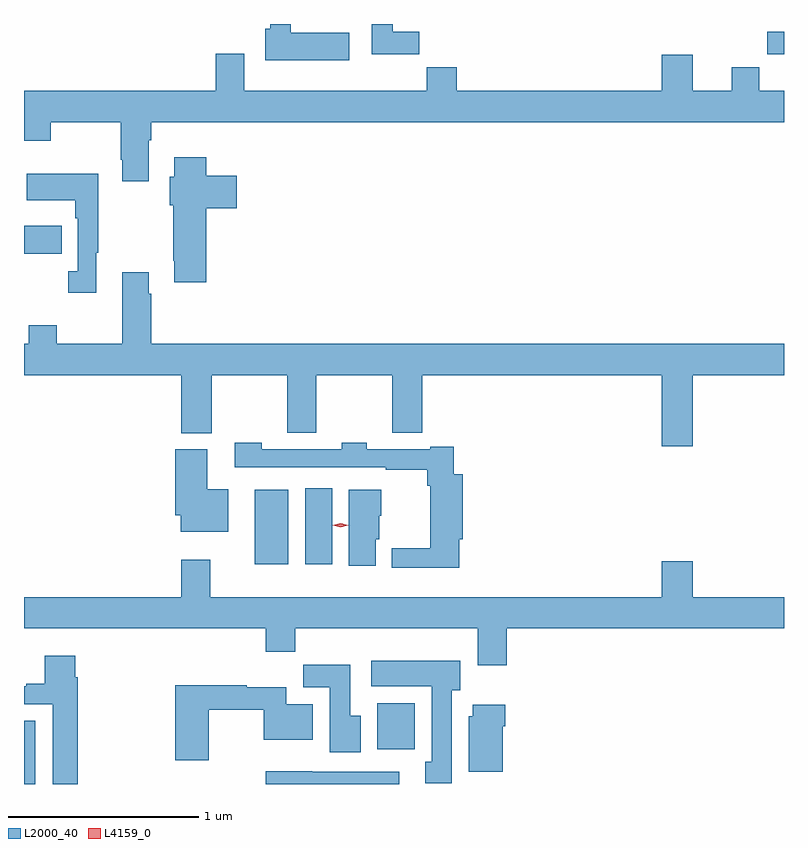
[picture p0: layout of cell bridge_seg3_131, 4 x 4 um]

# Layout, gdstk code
import gdstk
lib = gdstk.Library(unit=1e-6, precision=1e-09)
def R(c, l, rs):  # rectangles x0, y0, x1, y1
    for r in rs: c.add(gdstk.rectangle(r[:2], r[2:], *l))
def P(c, l, *ps):  # polygons
    for p in ps: c.add(gdstk.Polygon(p, *l))
L2000_40 = (2000, 40)
L4159_0 = (4159, 0)

bridge_seg3_131 = lib.new_cell('bridge_seg3_131')
R(bridge_seg3_131, L2000_40, [(269.543,677.452,269.602,677.786), (271.403,677.636,271.6,677.878), (270.758,678.608,270.934,679), (271.022,678.608,271.165,679.009), (269.543,680.242,269.741,680.389), (273.454,681.294,273.543,681.412)])
P(bridge_seg3_131, L2000_40, [(271.622,681.412),(271.483,681.412),(271.483,681.452),(271.373,681.452),(271.373,681.294),(271.622,681.294)],
  [(271.255,681.406),(270.946,681.406),(270.946,681.452),(270.839,681.452),(270.839,681.426),(270.812,681.426),(270.812,681.26),(271.255,681.26)],
  [(270.199,680.84),(270.212,680.84),(270.212,680.936),(273.543,680.936),(273.543,681.1),(273.413,681.1),(273.413,681.224),(273.269,681.224),(273.269,681.1),(273.064,681.1),(273.064,681.289),(272.9,681.289),(272.9,681.1),(271.82,681.1),(271.82,681.224),(271.663,681.224),(271.663,681.1),(270.703,681.1),(270.703,681.295),(270.551,681.295),(270.551,681.1),(269.543,681.1),(269.543,680.837),(269.685,680.837),(269.685,680.936),(270.052,680.936),(270.052,680.737),(270.059,680.737),(270.059,680.625),(270.199,680.625)],
  [(270.503,680.483),(270.664,680.483),(270.664,680.653),(270.503,680.653),(270.503,680.752),(270.335,680.752),(270.335,680.649),(270.311,680.649),(270.311,680.499),(270.328,680.499),(270.328,680.206),(270.335,680.206),(270.335,680.094),(270.503,680.094)],
  [(269.923,680.249),(269.935,680.249),(269.935,680.665),(269.557,680.665),(269.557,680.525),(269.814,680.525),(269.814,680.429),(269.826,680.429),(269.826,680.15),(269.775,680.15),(269.775,680.037),(269.923,680.037)],
  [(273.064,679.604),(273.543,679.604),(273.543,679.768),(270.212,679.768),(270.212,680.033),(270.199,680.033),(270.199,680.146),(270.059,680.146),(270.059,679.768),(269.715,679.768),(269.715,679.867),(269.567,679.867),(269.567,679.768),(269.543,679.768),(269.543,679.604),(270.371,679.604),(270.371,679.298),(270.531,679.298),(270.531,679.604),(270.928,679.604),(270.928,679.3),(271.082,679.3),(271.082,679.604),(271.48,679.604),(271.48,679.3),(271.64,679.3),(271.64,679.604),(272.9,679.604),(272.9,679.23),(273.064,679.23)],
  [(271.835,678.741),(271.853,678.741),(271.853,679.081),(271.804,679.081),(271.804,679.228),(271.682,679.228),(271.682,679.215),(271.347,679.215),(271.347,679.248),(271.215,679.248),(271.215,679.215),(270.795,679.215),(270.795,679.248),(270.651,679.248),(270.651,679.119),(271.447,679.119),(271.447,679.107),(271.665,679.107),(271.665,679.022),(271.682,679.022),(271.682,678.692),(271.479,678.692),(271.479,678.59),(271.835,678.59)],
  [(270.619,679.003),(270.508,679.003),(270.508,679.213),(270.338,679.213),(270.338,678.867),(270.368,678.867),(270.368,678.779),(270.619,678.779)],
  [(271.393,678.741),(271.414,678.741),(271.414,678.864),(271.423,678.864),(271.423,679),(271.253,679),(271.253,678.6),(271.393,678.6)],
  [(272.084,678.272),(273.543,678.272),(273.543,678.436),(273.064,678.436),(273.064,678.625),(272.9,678.625),(272.9,678.436),(270.523,678.436),(270.523,678.631),(270.371,678.631),(270.371,678.436),(269.543,678.436),(269.543,678.272),(270.815,678.272),(270.815,678.148),(270.971,678.148),(270.971,678.272),(271.931,678.272),(271.931,678.078),(272.084,678.078)],
  [(269.825,678.014),(269.812,678.014),(269.812,678.127),(269.651,678.127),(269.651,677.98),(269.555,677.98),(269.555,677.967),(269.543,677.967),(269.543,677.871),(269.693,677.871),(269.693,677.452),(269.825,677.452)],
  [(271.795,677.946),(271.84,677.946),(271.84,678.1),(271.371,678.1),(271.371,677.966),(271.688,677.966),(271.688,677.57),(271.655,677.57),(271.655,677.457),(271.795,677.457)],
  [(271.315,677.812),(271.261,677.812),(271.261,678.079),(271.012,678.079),(271.012,677.96),(271.151,677.96),(271.151,677.619),(271.315,677.619)],
  [(270.516,677.842),(270.805,677.842),(270.805,677.684),(271.063,677.684),(271.063,677.872),(270.922,677.872),(270.922,677.96),(270.716,677.96),(270.716,677.971),(270.338,677.971),(270.338,677.577),(270.516,677.577)],
  [(272.062,677.756),(272.075,677.756),(272.075,677.869),(271.904,677.869),(271.904,677.808),(271.883,677.808),(271.883,677.516),(272.062,677.516)],
  [(271.519,677.517),(271.059,677.517),(271.059,677.518),(270.815,677.518),(270.815,677.452),(271.519,677.452)])
P(bridge_seg3_131, L4159_0, [(271.209,678.804),(271.168,678.814),(271.168,678.814),(271.168,678.814),(271.209,678.824),(271.249,678.814),(271.25,678.814),(271.249,678.814)])

lib.write_gds('bridge_seg3_131.gds')
